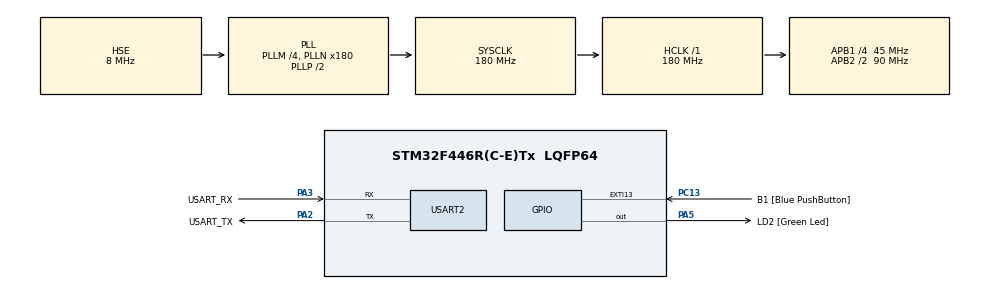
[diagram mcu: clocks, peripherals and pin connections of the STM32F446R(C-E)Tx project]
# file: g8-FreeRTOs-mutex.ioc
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FREERTOS.Mutexes01=mutexLED,Dynamic,NULL
FREERTOS.Tasks01=defaultTask,0,128,StartDefaultTask,Default,NULL,Dynamic,NULL,NULL;task1,0,128,BlinkLED1,Default,NULL,Dynamic,NULL,NULL;task2,0,128,BlinkLED2,Default,NULL,Dynamic,NULL,NULL
Mcu.Family=STM32F4
Mcu.Name=STM32F446R(C-E)Tx
Mcu.Package=LQFP64
NVIC.PriorityGroup=NVIC_PRIORITYGROUP_4
NVIC.TIM6_DAC_IRQn=true\:0\:0\:false\:false\:true\:false\:false
NVIC.TimeBase=TIM6_DAC_IRQn
NVIC.TimeBaseIP=TIM6
PA13.GPIO_Label=TMS
PA13.Mode=Serial_Wire
PA13.Signal=SYS_JTMS-SWDIO
PA14.GPIO_Label=TCK
PA14.Mode=Serial_Wire
PA14.Signal=SYS_JTCK-SWCLK
PA2.GPIO_Label=USART_TX
PA2.Mode=Asynchronous
PA2.Signal=USART2_TX
PA3.GPIO_Label=USART_RX
PA3.Mode=Asynchronous
PA3.Signal=USART2_RX
PA5.GPIO_Label=LD2 [Green Led]
PA5.Signal=GPIO_Output
PB3.GPIO_Label=SWO
PB3.Signal=SYS_JTDO-SWO
PC13.GPIO_Label=B1 [Blue PushButton]
PC13.GPIO_ModeDefaultEXTI=GPIO_MODE_IT_FALLING
PC13.Signal=GPXTI13
PC14-OSC32_IN.Mode=LSE-External-Oscillator
PC14-OSC32_IN.Signal=RCC_OSC32_IN
PC15-OSC32_OUT.Mode=LSE-External-Oscillator
PC15-OSC32_OUT.Signal=RCC_OSC32_OUT
PH0-OSC_IN.Mode=HSE-External-Oscillator
PH0-OSC_IN.Signal=RCC_OSC_IN
PH1-OSC_OUT.Mode=HSE-External-Oscillator
PH1-OSC_OUT.Signal=RCC_OSC_OUT
ProjectManager.HeapSize=0x200
ProjectManager.StackSize=0x400
ProjectManager.TargetToolchain=SW4STM32
RCC.48MHZClocksFreq_Value=84000000
RCC.AHBFreq_Value=180000000
RCC.APB1CLKDivider=RCC_HCLK_DIV4
RCC.APB1Freq_Value=45000000
RCC.APB1TimFreq_Value=90000000
RCC.APB2CLKDivider=RCC_HCLK_DIV2
RCC.APB2Freq_Value=90000000
RCC.APB2TimFreq_Value=180000000
RCC.CortexFreq_Value=180000000
RCC.FLatency-AdvancedSettings=FLASH_LATENCY_5
RCC.HCLKFreq_Value=180000000
RCC.HSE_VALUE=8000000
RCC.HSI_VALUE=16000000
RCC.PLLM=4
RCC.PLLN=180
RCC.PLLSourceVirtual=RCC_PLLSOURCE_HSE
RCC.SYSCLKFreq_VALUE=180000000
RCC.SYSCLKSource=RCC_SYSCLKSOURCE_PLLCLK
RCC.USBFreq_Value=180000000
RCC.VCOOutputFreq_Value=360000000
USART2.VirtualMode=VM_ASYNC
VP_FREERTOS_VS_ENABLE.Mode=Enabled
VP_SYS_VS_tim6.Mode=TIM6
board=NUCLEO-F446RE

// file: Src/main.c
/**
  ******************************************************************************
  * @file           : main.c
  * @brief          : Main program body
  ******************************************************************************
  * This notice applies to any and all portions of this file
  * that are not between comment pairs USER CODE BEGIN and
  * USER CODE END. Other portions of this file, whether
  * inserted by the user or by software development tools
  * are owned by their respective copyright owners.
  *
  * Copyright (c) 2018 STMicroelectronics International N.V.
  * All rights reserved.
  *
  * Redistribution and use in source and binary forms, with or without
  * modification, are permitted, provided that the following conditions are met:
  *
  * 1. Redistribution of source code must retain the above copyright notice,
  *    this list of conditions and the following disclaimer.
  * 2. Redistributions in binary form must reproduce the above copyright notice,
  *    this list of conditions and the following disclaimer in the documentation
  *    and/or other materials provided with the distribution.
  * 3. Neither the name of STMicroelectronics nor the names of other
  *    contributors to this software may be used to endorse or promote products
  *    derived from this software without specific written permission.
  * 4. This software, including modifications and/or derivative works of this
  *    software, must execute solely and exclusively on microcontroller or
  *    microprocessor devices manufactured by or for STMicroelectronics.
  * 5. Redistribution and use of this software other than as permitted under
  *    this license is void and will automatically terminate your rights under
  *    this license.
  *
  * THIS SOFTWARE IS PROVIDED BY STMICROELECTRONICS AND CONTRIBUTORS "AS IS"
  * AND ANY EXPRESS, IMPLIED OR STATUTORY WARRANTIES, INCLUDING, BUT NOT
  * LIMITED TO, THE IMPLIED WARRANTIES OF MERCHANTABILITY, FITNESS FOR A
  * PARTICULAR PURPOSE AND NON-INFRINGEMENT OF THIRD PARTY INTELLECTUAL PROPERTY
  * RIGHTS ARE DISCLAIMED TO THE FULLEST EXTENT PERMITTED BY LAW. IN NO EVENT
  * SHALL STMICROELECTRONICS OR CONTRIBUTORS BE LIABLE FOR ANY DIRECT, INDIRECT,
  * INCIDENTAL, SPECIAL, EXEMPLARY, OR CONSEQUENTIAL DAMAGES (INCLUDING, BUT NOT
  * LIMITED TO, PROCUREMENT OF SUBSTITUTE GOODS OR SERVICES; LOSS OF USE, DATA,
  * OR PROFITS; OR BUSINESS INTERRUPTION) HOWEVER CAUSED AND ON ANY THEORY OF
  * LIABILITY, WHETHER IN CONTRACT, STRICT LIABILITY, OR TORT (INCLUDING
  * NEGLIGENCE OR OTHERWISE) ARISING IN ANY WAY OUT OF THE USE OF THIS SOFTWARE,
  * EVEN IF ADVISED OF THE POSSIBILITY OF SUCH DAMAGE.
  *
  ******************************************************************************
  */
#include "main.h"
#include "stm32f4xx_hal.h"
#include "cmsis_os.h"
#include "usart.h"
#include "gpio.h"

/* USER CODE BEGIN PV */
/* Private variables ---------------------------------------------------------*/

/* USER CODE END PV */

void SystemClock_Config(void);
void MX_FREERTOS_Init(void);

/* USER CODE BEGIN PFP */
/* Private function prototypes -----------------------------------------------*/

/* USER CODE END PFP */

int main(void)
{

  /* MCU Configuration----------------------------------------------------------*/

  /* Reset of all peripherals, Initializes the Flash interface and the Systick. */
  HAL_Init();

  /* Configure the system clock */
  SystemClock_Config();

  /* Initialize all configured peripherals */
  MX_GPIO_Init();
  MX_USART2_UART_Init();

  /* Call init function for freertos objects (in freertos.c) */
  MX_FREERTOS_Init();

  /* Start scheduler */
  osKernelStart();

  /* We should never get here as control is now taken by the scheduler */

  /* Infinite loop */
  while (1)
  {

  }

}

void SystemClock_Config(void)
{

  RCC_OscInitTypeDef RCC_OscInitStruct;
  RCC_ClkInitTypeDef RCC_ClkInitStruct;

    /**Configure the main internal regulator output voltage
    */
  __HAL_RCC_PWR_CLK_ENABLE();

  __HAL_PWR_VOLTAGESCALING_CONFIG(PWR_REGULATOR_VOLTAGE_SCALE1);

    /**Initializes the CPU, AHB and APB busses clocks
    */
  RCC_OscInitStruct.OscillatorType = RCC_OSCILLATORTYPE_HSE;
  RCC_OscInitStruct.HSEState = RCC_HSE_ON;
  RCC_OscInitStruct.PLL.PLLState = RCC_PLL_ON;
  RCC_OscInitStruct.PLL.PLLSource = RCC_PLLSOURCE_HSE;
  RCC_OscInitStruct.PLL.PLLM = 4;
  RCC_OscInitStruct.PLL.PLLN = 180;
  RCC_OscInitStruct.PLL.PLLP = RCC_PLLP_DIV2;
  RCC_OscInitStruct.PLL.PLLQ = 2;
  RCC_OscInitStruct.PLL.PLLR = 2;
  if (HAL_RCC_OscConfig(&RCC_OscInitStruct) != HAL_OK)
  {
    _Error_Handler(__FILE__, __LINE__);
  }

    /**Activate the Over-Drive mode
    */
  if (HAL_PWREx_EnableOverDrive() != HAL_OK)
  {
    _Error_Handler(__FILE__, __LINE__);
  }

    /**Initializes the CPU, AHB and APB busses clocks
    */
  RCC_ClkInitStruct.ClockType = RCC_CLOCKTYPE_HCLK|RCC_CLOCKTYPE_SYSCLK
                              |RCC_CLOCKTYPE_PCLK1|RCC_CLOCKTYPE_PCLK2;
  RCC_ClkInitStruct.SYSCLKSource = RCC_SYSCLKSOURCE_PLLCLK;
  RCC_ClkInitStruct.AHBCLKDivider = RCC_SYSCLK_DIV1;
  RCC_ClkInitStruct.APB1CLKDivider = RCC_HCLK_DIV4;
  RCC_ClkInitStruct.APB2CLKDivider = RCC_HCLK_DIV2;

  if (HAL_RCC_ClockConfig(&RCC_ClkInitStruct, FLASH_LATENCY_5) != HAL_OK)
  {
    _Error_Handler(__FILE__, __LINE__);
  }

    /**Configure the Systick interrupt time
    */
  HAL_SYSTICK_Config(HAL_RCC_GetHCLKFreq()/1000);

    /**Configure the Systick
    */
  HAL_SYSTICK_CLKSourceConfig(SYSTICK_CLKSOURCE_HCLK);

  /* SysTick_IRQn interrupt configuration */
  HAL_NVIC_SetPriority(SysTick_IRQn, 15, 0);
}

void HAL_TIM_PeriodElapsedCallback(TIM_HandleTypeDef *htim)
{
  if (htim->Instance == TIM6) {
    HAL_IncTick();
  }
}

void _Error_Handler(char *file, int line)
{
  while(1)
  {
  }
}

/************************ (C) COPYRIGHT STMicroelectronics *****END OF FILE****/

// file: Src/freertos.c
/**
  ******************************************************************************
  * File Name          : freertos.c
  * Description        : Code for freertos applications
  ******************************************************************************
  * This notice applies to any and all portions of this file
  * that are not between comment pairs USER CODE BEGIN and
  * USER CODE END. Other portions of this file, whether
  * inserted by the user or by software development tools
  * are owned by their respective copyright owners.
  *
  * Copyright (c) 2018 STMicroelectronics International N.V.
  * All rights reserved.
  *
  * Redistribution and use in source and binary forms, with or without
  * modification, are permitted, provided that the following conditions are met:
  *
  * 1. Redistribution of source code must retain the above copyright notice,
  *    this list of conditions and the following disclaimer.
  * 2. Redistributions in binary form must reproduce the above copyright notice,
  *    this list of conditions and the following disclaimer in the documentation
  *    and/or other materials provided with the distribution.
  * 3. Neither the name of STMicroelectronics nor the names of other
  *    contributors to this software may be used to endorse or promote products
  *    derived from this software without specific written permission.
  * 4. This software, including modifications and/or derivative works of this
  *    software, must execute solely and exclusively on microcontroller or
  *    microprocessor devices manufactured by or for STMicroelectronics.
  * 5. Redistribution and use of this software other than as permitted under
  *    this license is void and will automatically terminate your rights under
  *    this license.
  *
  * THIS SOFTWARE IS PROVIDED BY STMICROELECTRONICS AND CONTRIBUTORS "AS IS"
  * AND ANY EXPRESS, IMPLIED OR STATUTORY WARRANTIES, INCLUDING, BUT NOT
  * LIMITED TO, THE IMPLIED WARRANTIES OF MERCHANTABILITY, FITNESS FOR A
  * PARTICULAR PURPOSE AND NON-INFRINGEMENT OF THIRD PARTY INTELLECTUAL PROPERTY
  * RIGHTS ARE DISCLAIMED TO THE FULLEST EXTENT PERMITTED BY LAW. IN NO EVENT
  * SHALL STMICROELECTRONICS OR CONTRIBUTORS BE LIABLE FOR ANY DIRECT, INDIRECT,
  * INCIDENTAL, SPECIAL, EXEMPLARY, OR CONSEQUENTIAL DAMAGES (INCLUDING, BUT NOT
  * LIMITED TO, PROCUREMENT OF SUBSTITUTE GOODS OR SERVICES; LOSS OF USE, DATA,
  * OR PROFITS; OR BUSINESS INTERRUPTION) HOWEVER CAUSED AND ON ANY THEORY OF
  * LIABILITY, WHETHER IN CONTRACT, STRICT LIABILITY, OR TORT (INCLUDING
  * NEGLIGENCE OR OTHERWISE) ARISING IN ANY WAY OUT OF THE USE OF THIS SOFTWARE,
  * EVEN IF ADVISED OF THE POSSIBILITY OF SUCH DAMAGE.
  *
  ******************************************************************************
  */

#include "FreeRTOS.h"
#include "task.h"
#include "cmsis_os.h"

/* USER CODE BEGIN Includes */
#include "stm32f4xx_hal.h"

#define USE_MUTEX_LED

/* USER CODE END Includes */

osThreadId defaultTaskHandle;
osThreadId task1Handle;
osThreadId task2Handle;
osMutexId mutexLEDHandle;

void StartDefaultTask(void const * argument);
void BlinkLED1(void const * argument);
void BlinkLED2(void const * argument);

void MX_FREERTOS_Init(void); /* (MISRA C 2004 rule 8.1) */

/* Hook prototypes */

/* Init FreeRTOS */

void MX_FREERTOS_Init(void) {

  /* Create the mutex(es) */
  /* definition and creation of mutexLED */
 // osMutexDef(mutexLED);
//  mutexLEDHandle = osMutexCreate(osMutex(mutexLED));

  /* USER CODE BEGIN RTOS_MUTEX */
  /* add mutexes, ... */
#ifdef USE_MUTEX_LED
	/* definition and creation of mutexLED */
	osMutexDef(mutexLED);
	mutexLEDHandle = osMutexCreate(osMutex(mutexLED));
#endif

  /* USER CODE END RTOS_MUTEX */

  /* Create the thread(s) */
  /* definition and creation of defaultTask */
  osThreadDef(defaultTask, StartDefaultTask, osPriorityNormal, 0, 128);
  defaultTaskHandle = osThreadCreate(osThread(defaultTask), NULL);

  /* definition and creation of task1 */
  osThreadDef(task1, BlinkLED1, osPriorityNormal, 0, 128);
  task1Handle = osThreadCreate(osThread(task1), NULL);

  /* definition and creation of task2 */
  osThreadDef(task2, BlinkLED2, osPriorityNormal, 0, 128);
  task2Handle = osThreadCreate(osThread(task2), NULL);

}

/* StartDefaultTask function */
void StartDefaultTask(void const * argument)
{

  for(;;)
  {
    osDelay(1);
  }
}

/* BlinkLED1 function */
void BlinkLED1(void const * argument)
{
  /* USER CODE BEGIN BlinkLED1 */
  osStatus status;

  /* Infinite loop */
  for(;;)
  {
//#ifdef(USE_MUTEX_LED)
		status = osMutexWait(mutexLEDHandle, osWaitForever);
		if (status == osOK) {
//#endif
			HAL_GPIO_TogglePin(GPIOA, GPIO_PIN_5);
			osDelay(123);
			HAL_GPIO_TogglePin(GPIOA, GPIO_PIN_5);
			osDelay(367);
//#ifdef USE_MUTEX_LED
			osMutexRelease(mutexLEDHandle);
		}
		osThreadYield();
//#endif

  }
  /* USER CODE END BlinkLED1 */
}

/* BlinkLED2 function */
void BlinkLED2(void const * argument)
{
  /* USER CODE BEGIN BlinkLED2 */
	osStatus status;

  /* Infinite loop */
  for(;;)
  {

//#ifdef USE_MUTEX_LED
		status = osMutexWait(mutexLEDHandle, osWaitForever);
		if (status == osOK) {
//#endif
			HAL_GPIO_TogglePin(GPIOA, GPIO_PIN_5);
			osDelay(888);
			HAL_GPIO_TogglePin(GPIOA, GPIO_PIN_5);
			osDelay(888);
//#ifdef(USE_MUTEX_LED)
			osMutexRelease(mutexLEDHandle);
		}
		osThreadYield();
//#endif

  }
  /* USER CODE END BlinkLED2 */
}

/************************ (C) COPYRIGHT STMicroelectronics *****END OF FILE****/
